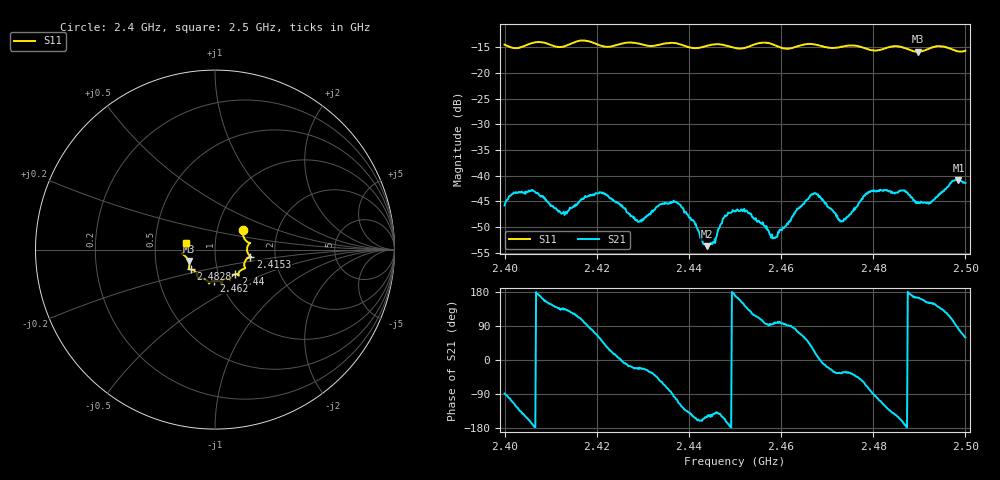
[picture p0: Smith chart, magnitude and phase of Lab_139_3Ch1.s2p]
# Hz S RI R 50
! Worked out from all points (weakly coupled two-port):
!   601 points, 2.4 GHz to 2.5 GHz, reference 50 ohm
!   highest |S21| = -40.84 dB at 2.4985 GHz (marker M1); lowest = -53.8 dB at 2.4438 GHz (marker M2)
!   lowest |S11| = -15.9 dB at 2.4897 GHz (marker M3), VSWR 1.38, Z = 36.9 - j4.83 ohm
!   |S11| at or under -10 dB: start of sweep to end of sweep
!   S12 and S22 are empty: the file has one direction only
!   S11 on the Smith chart (normalised r, x): 2.4 GHz: 1.33, +0.29; 2.4153 GHz: 1.48, -0.12; 2.44 GHz: 1.20, -0.34; 2.462 GHz: 0.93, -0.33; 2.4828 GHz: 0.74, -0.17; 2.5 GHz: 0.72, +0.06
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2.4e9  0.1552 0.1067  0.000109 -0.0051  0 0  0 0
2.405833e9  0.1907 0.038  -0.00693 -0.00164  0 0  0 0
2.4125e9  0.1792 -0.0076  -0.003 0.00306  0 0  0 0
2.415333e9  0.1964 -0.0387  -0.00255 0.00457  0 0  0 0
2.416667e9  0.2023 -0.0426  -0.00176 0.00561  0 0  0 0
2.421167e9  0.1742 -0.055  0.00438 0.00507  0 0  0 0
2.429167e9  0.1605 -0.1065  0.00326 -0.00142  0 0  0 0
2.433333e9  0.1308 -0.1338  0.0033 -0.00378  0 0  0 0
2.437167e9  0.1316 -0.1432  -0.00126 -0.0054  0 0  0 0
2.44e9  0.1138 -0.1365  -0.00299 -0.00258  0 0  0 0
2.443833e9  0.086 -0.162  -0.00176 -0.00106  0 0  0 0
2.45e9  0.0648 -0.1624  -0.00444 0.000841  0 0  0 0
2.458667e9  0.0335 -0.1832  -0.000401 0.00243  0 0  0 0
2.462e9  -0.00498 -0.1731  -1.73e-05 0.00357  0 0  0 0
2.466667e9  -0.0343 -0.188  0.00544 0.00372  0 0  0 0
2.473e9  -0.0802 -0.1601  0.00295 -0.00205  0 0  0 0
2.478833e9  -0.1022 -0.1359  0.00204 -0.00655  0 0  0 0
2.482833e9  -0.1363 -0.1095  -0.00409 -0.00591  0 0  0 0
2.483333e9  -0.1402 -0.1093  -0.00461 -0.00529  0 0  0 0
2.489667e9  -0.1472 -0.0637  -0.00521 0.00151  0 0  0 0
2.4985e9  -0.1613 0.0131  0.00121 0.009  0 0  0 0
2.5e9  -0.1596 0.0389  0.00428 0.0073  0 0  0 0
